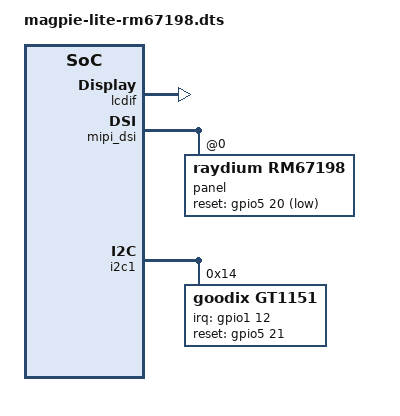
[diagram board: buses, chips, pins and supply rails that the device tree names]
#include "magpie-lite.dts"

&lcdif {
       status = "okay";
};

&mipi_dsi {
    status = "okay";
    panel@0 {
        compatible = "raydium,rm67198";
        reg = <0>;
        pinctrl-0 = <&pinctrl_oled_en>;
        reset-gpio = <&gpio5 20 GPIO_ACTIVE_LOW>;
        dsi-lanes = <4>;
        video-mode = <2>;    /* 0: burst mode
                     * 1: non-burst mode with sync event
                     * 2: non-burst mode with sync pulse
                     * 3: command mode
                     */
        panel-width-mm = <68>;
        panel-height-mm = <121>;
        status = "okay";
    };
};

&i2c1 {
    gt1151@14 {
        compatible = "goodix,gt1151";
        reg = <0x14>;
        pinctrl-names = "default";
        pinctrl-0 = <&pinctrl_goodix_tp>;
        interrupt-parent = <&gpio1>;
        interrupts = <12 IRQ_TYPE_EDGE_FALLING>;
        irq-gpios = <&gpio1 12 GPIO_ACTIVE_HIGH>;
        reset-gpios = <&gpio5 21 GPIO_ACTIVE_HIGH>;
        touchscreen-size-x = <1080>;
        touchscreen-size-y = <1920>;
        status = "okay";
    };
};

&iomuxc {
    pinctrl_oled_en: oled_en_iogrp {
        fsl,pins = <
            MX8MM_IOMUXC_I2C4_SCL_GPIO5_IO20    0x16
        >;
    };

    pinctrl_goodix_tp: goodix_tp_iogrp {
        fsl,pins = <
            MX8MM_IOMUXC_GPIO1_IO12_GPIO1_IO12  0x19
            MX8MM_IOMUXC_I2C4_SDA_GPIO5_IO21    0xb6
        >;
    };
};
